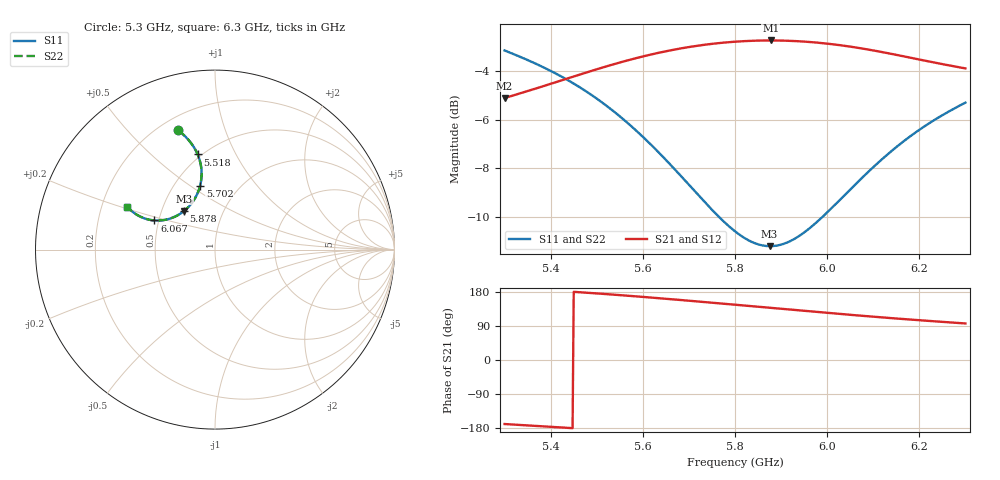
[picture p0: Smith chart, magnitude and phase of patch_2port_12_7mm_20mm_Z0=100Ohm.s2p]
! Created with skrf 1.8.0 (http://scikit-rf.org).
# Hz S RI R 100.0
!freq ReS11 ImS11 ReS21 ImS21 ReS12 ImS12 ReS22 ImS22
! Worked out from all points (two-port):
!   401 points, 5.3 GHz to 6.3 GHz, reference 100 ohm
!   highest |S21| = -2.74 dB at 5.878 GHz (marker M1); lowest = -5.1 dB at 5.3 GHz (marker M2)
!   |S21| within 3 dB of the highest: start of sweep to end of sweep
!   lowest |S11| = -11.2 dB at 5.875 GHz (marker M3), VSWR 1.76, Z = 65.1 + j30.4 ohm
!   |S11| at or under -10 dB: 5.766 GHz to 5.989 GHz (223.4 MHz wide, 3.8 % of centre)
!   |S22| runs from -11.2 to -3.2 dB; largest |S21 - S12| = 0
!   S11 on the Smith chart (normalised r, x): 5.3 GHz: 0.27, +0.70; 5.518 GHz: 0.48, +0.71; 5.702 GHz: 0.67, +0.55; 5.878 GHz: 0.65, +0.30; 6.067 GHz: 0.47, +0.18; 6.3 GHz: 0.31, +0.21
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5.3e9  -0.2044 0.665  -0.5451 -0.1061  -0.5451 -0.1061  -0.2044 0.665
5.3875e9  -0.1565 0.6208  -0.587 -0.0485  -0.587 -0.0485  -0.1565 0.6208
5.4675e9  -0.1167 0.5691  -0.6224 0.0166  -0.6224 0.0166  -0.1167 0.5691
5.5175e9  -0.0965 0.53  -0.6405 0.0651  -0.6405 0.0651  -0.0965 0.53
5.5775e9  -0.0801 0.4772  -0.6549 0.131  -0.6549 0.131  -0.0801 0.4772
5.635e9  -0.0746 0.4224  -0.6585 0.2002  -0.6585 0.2002  -0.0746 0.4224
5.67e9  -0.0768 0.3883  -0.6549 0.2442  -0.6549 0.2442  -0.0768 0.3883
5.7025e9  -0.0826 0.3569  -0.6474 0.2855  -0.6474 0.2855  -0.0826 0.3569
5.75e9  -0.0979 0.3125  -0.6291 0.3456  -0.6291 0.3456  -0.0979 0.3125
5.8e9  -0.122 0.2694  -0.6003 0.4068  -0.6003 0.4068  -0.122 0.2694
5.84e9  -0.1467 0.2388  -0.5706 0.4528  -0.5706 0.4528  -0.1467 0.2388
5.875e9  -0.1718 0.2156  -0.5402 0.4901  -0.5402 0.4901  -0.1718 0.2156
5.8775e9  -0.1737 0.2141  -0.5379 0.4926  -0.5379 0.4926  -0.1737 0.2141
5.8975e9  -0.1893 0.2027  -0.5187 0.5123  -0.5187 0.5123  -0.1893 0.2027
5.92e9  -0.2076 0.1914  -0.4959 0.533  -0.4959 0.533  -0.2076 0.1914
5.9425e9  -0.2268 0.1819  -0.4718 0.5521  -0.4718 0.5521  -0.2268 0.1819
5.9675e9  -0.2486 0.1734  -0.4439 0.5712  -0.4439 0.5712  -0.2486 0.1734
6.0175e9  -0.2933 0.1634  -0.3853 0.6027  -0.3853 0.6027  -0.2933 0.1634
6.0675e9  -0.3372 0.1623  -0.3249 0.6248  -0.3249 0.6248  -0.3372 0.1623
6.135e9  -0.3919 0.1736  -0.2445 0.6408  -0.2445 0.6408  -0.3919 0.1736
6.215e9  -0.4455 0.2006  -0.1561 0.6434  -0.1561 0.6434  -0.4455 0.2006
6.3e9  -0.4889 0.2376  -0.0716 0.6351  -0.0716 0.6351  -0.4889 0.2376
